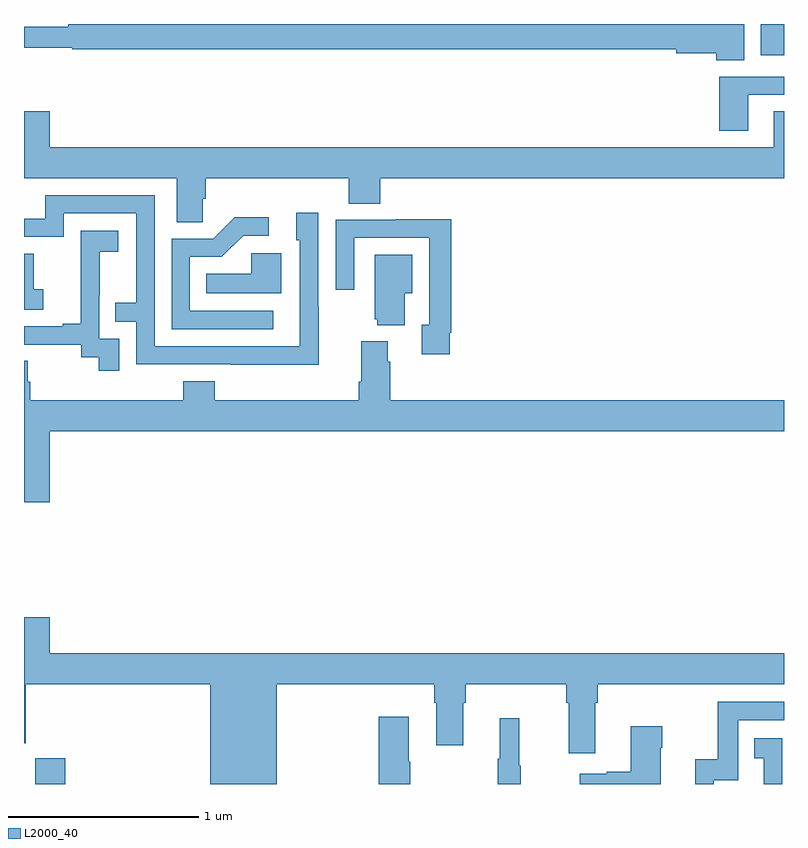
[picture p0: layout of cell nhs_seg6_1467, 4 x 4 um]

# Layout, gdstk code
import gdstk
lib = gdstk.Library(unit=1e-6, precision=1e-09)
def R(c, l, rs):  # rectangles x0, y0, x1, y1
    for r in rs: c.add(gdstk.rectangle(r[:2], r[2:], *l))
def P(c, l, *ps):  # polygons
    for p in ps: c.add(gdstk.Polygon(p, *l))
L2000_40 = (2000, 40)

nhs_seg6_1467 = lib.new_cell('nhs_seg6_1467')
R(nhs_seg6_1467, L2000_40, [(201.058,925.5,201.218,925.636), (204.878,929.336,205,929.5)])
P(nhs_seg6_1467, L2000_40, [(204.79,929.5),(201.232,929.5),(201.232,929.485),(201,929.485),(201,929.376),(201.255,929.376),(201.255,929.368),(204.434,929.368),(204.434,929.345),(204.644,929.345),(204.644,929.308),(204.79,929.308)],
  [(204.811,929.127),(205,929.127),(205,929.223),(204.659,929.223),(204.659,928.938),(204.811,928.938)],
  [(201.942,928.579),(201.956,928.579),(201.956,928.688),(202.709,928.688),(202.709,928.555),(202.874,928.555),(202.874,928.688),(205,928.688),(205,929.042),(204.947,929.042),(204.947,928.852),(201.136,928.852),(201.136,929.041),(201,929.041),(201,928.688),(201.803,928.688),(201.803,928.456),(201.942,928.456)],
  [(202.551,928.013),(202.548,928.013),(202.548,928.507),(202.433,928.507),(202.433,928.362),(202.452,928.362),(202.452,928.058),(202.451,928.058),(202.451,927.804),(201.687,927.804),(201.687,928.599),(201.113,928.599),(201.113,928.476),(201,928.476),(201,928.38),(201.21,928.38),(201.21,928.503),(201.591,928.503),(201.591,928.034),(201.481,928.034),(201.481,927.933),(201.591,927.933),(201.591,927.708),(202.087,927.708),(202.087,927.707),(202.551,927.707)],
  [(202.312,927.99),(201.873,927.99),(201.873,928.275),(202.042,928.275),(202.153,928.386),(202.288,928.386),(202.288,928.484),(202.109,928.484),(201.996,928.371),(201.777,928.371),(201.777,927.894),(202.312,927.894)],
  [(203.242,927.874),(203.249,927.874),(203.249,928.472),(202.957,928.472),(202.957,928.47),(202.641,928.47),(202.641,928.101),(202.737,928.101),(202.737,928.374),(203.133,928.374),(203.133,927.918),(203.093,927.918),(203.093,927.762),(203.242,927.762)],
  [(201.501,927.843),(201.396,927.843),(201.396,928.073),(201.398,928.073),(201.398,928.301),(201.496,928.301),(201.496,928.411),(201.298,928.411),(201.298,928.205),(201.299,928.205),(201.299,927.922),(201.203,927.922),(201.203,927.909),(201,927.909),(201,927.813),(201.3,927.813),(201.3,927.745),(201.393,927.745),(201.393,927.675),(201.501,927.675)],
  [(202.354,928.294),(202.197,928.294),(202.197,928.186),(201.958,928.186),(201.958,928.082),(202.354,928.082)],
  [(201.1,928.105),(201.051,928.105),(201.051,928.29),(201,928.29),(201,927.996),(201.1,927.996)],
  [(203.005,928.082),(203.044,928.082),(203.044,928.285),(202.847,928.285),(202.847,927.945),(202.859,927.945),(202.859,927.914),(203.005,927.914)],
  [(205,927.52),(202.928,927.52),(202.928,927.722),(202.915,927.722),(202.915,927.829),(202.775,927.829),(202.775,927.616),(202.763,927.616),(202.763,927.52),(202.004,927.52),(202.004,927.619),(201.839,927.619),(201.839,927.52),(201.032,927.52),(201.032,927.618),(201.019,927.618),(201.019,927.728),(201,927.728),(201,926.982),(201.136,926.982),(201.136,927.356),(205,927.356)],
  [(202.33,926.024),(203.159,926.024),(203.159,925.928),(203.171,925.928),(203.171,925.704),(203.311,925.704),(203.311,925.928),(203.324,925.928),(203.324,926.024),(203.855,926.024),(203.855,925.928),(203.867,925.928),(203.867,925.662),(204.007,925.662),(204.007,925.928),(204.02,925.928),(204.02,926.024),(205,926.024),(205,926.188),(201.136,926.188),(201.136,926.377),(201,926.377),(201,925.715),(201.01,925.715),(201.01,926.024),(201.98,926.024),(201.98,925.5),(202.33,925.5)],
  [(204.63,925.521),(204.759,925.521),(204.759,925.836),(205,925.836),(205,925.932),(204.651,925.932),(204.651,925.63),(204.533,925.63),(204.533,925.5),(204.63,925.5)],
  [(203.034,925.616),(203.026,925.616),(203.026,925.855),(202.868,925.855),(202.868,925.5),(203.034,925.5)],
  [(203.614,925.596),(203.606,925.596),(203.606,925.846),(203.504,925.846),(203.504,925.633),(203.493,925.633),(203.493,925.5),(203.614,925.5)],
  [(204.352,925.691),(204.36,925.691),(204.36,925.804),(204.194,925.804),(204.194,925.565),(204.068,925.565),(204.068,925.555),(203.925,925.555),(203.925,925.5),(204.352,925.5)],
  [(204.99,925.741),(204.844,925.741),(204.844,925.635),(204.893,925.635),(204.893,925.5),(204.99,925.5)])

lib.write_gds('nhs_seg6_1467.gds')
